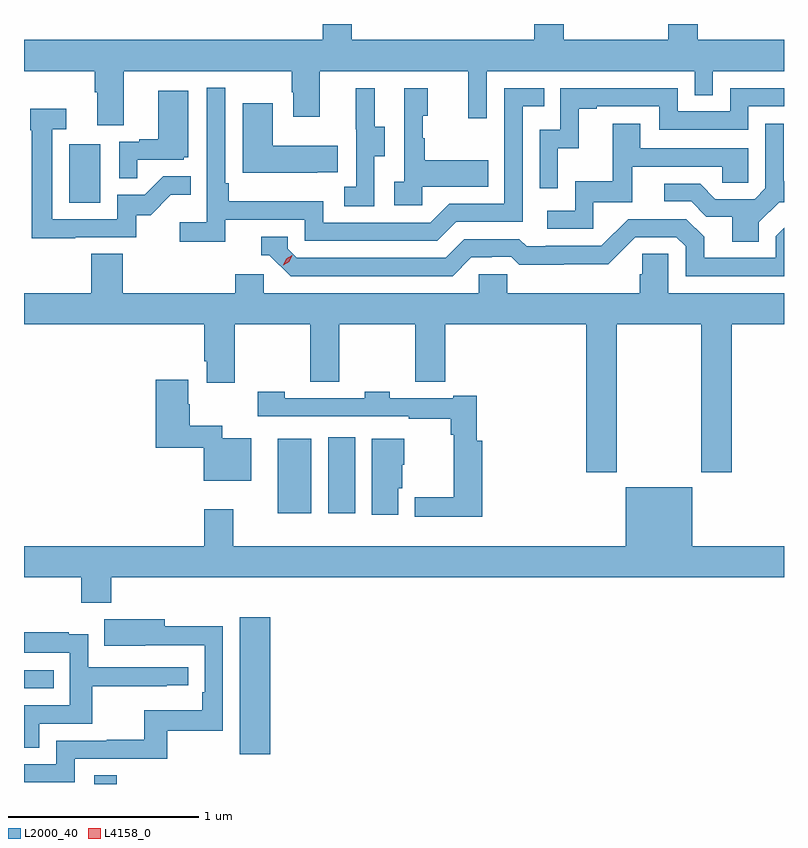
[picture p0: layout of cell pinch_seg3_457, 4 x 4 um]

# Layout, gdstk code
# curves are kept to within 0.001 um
import gdstk
lib = gdstk.Library(unit=1e-6, precision=1e-09)
def R(c, l, rs):  # rectangles x0, y0, x1, y1
    for r in rs: c.add(gdstk.rectangle(r[:2], r[2:], *l))
def P(c, l, *ps):  # polygons
    for p in ps: c.add(gdstk.Polygon(p, *l))
L2000_40 = (2000, 40)
L4158_0 = (4158, 0)

pinch_seg3_457 = lib.new_cell('pinch_seg3_457')
R(pinch_seg3_457, L2000_40, [(891.615,669.192,891.731,669.239), (892.379,669.348,892.54,670.069), (891.244,669.696,891.401,669.792), (892.58,670.616,892.756,671.008), (892.844,670.616,892.987,671.017), (891.482,672.252,891.646,672.559)])
P(pinch_seg3_457, L2000_40, [(891.769,672.944),(892.654,672.944),(892.654,672.833),(892.661,672.833),(892.661,672.705),(892.801,672.705),(892.801,672.944),(893.582,672.944),(893.582,672.696),(893.679,672.696),(893.679,672.944),(894.774,672.944),(894.774,672.817),(894.87,672.817),(894.87,672.944),(895.244,672.944),(895.244,673.108),(894.791,673.108),(894.791,673.192),(894.635,673.192),(894.635,673.108),(894.086,673.108),(894.086,673.192),(893.929,673.192),(893.929,673.108),(892.969,673.108),(892.969,673.192),(892.817,673.192),(892.817,673.108),(891.244,673.108),(891.244,672.944),(891.617,672.944),(891.617,672.832),(891.629,672.832),(891.629,672.658),(891.769,672.658)],
  [(892.304,672.162),(892.722,672.162),(892.722,672.051),(893.419,672.051),(893.518,672.15),(893.868,672.15),(893.868,672.759),(893.981,672.759),(893.981,672.855),(893.772,672.855),(893.772,672.246),(893.481,672.246),(893.382,672.147),(892.818,672.147),(892.818,672.259),(892.322,672.259),(892.322,672.355),(892.302,672.355),(892.302,672.856),(892.206,672.856),(892.206,672.148),(892.065,672.148),(892.065,672.046),(892.304,672.046)],
  [(894.054,672.539),(894.164,672.539),(894.164,672.747),(894.259,672.747),(894.259,672.759),(894.588,672.759),(894.588,672.636),(895.056,672.636),(895.056,672.759),(895.244,672.759),(895.244,672.855),(894.96,672.855),(894.96,672.732),(894.684,672.732),(894.684,672.855),(894.066,672.855),(894.066,672.636),(893.958,672.636),(893.958,672.327),(894.054,672.327)],
  [(893.088,672.496),(893.143,672.496),(893.143,672.651),(893.089,672.651),(893.089,672.853),(892.991,672.853),(892.991,672.639),(892.992,672.639),(892.992,672.335),(892.929,672.335),(892.929,672.232),(893.088,672.232)],
  [(893.34,672.335),(893.687,672.335),(893.687,672.475),(893.353,672.475),(893.353,672.59),(893.343,672.59),(893.343,672.708),(893.368,672.708),(893.368,672.853),(893.244,672.853),(893.244,672.362),(893.193,672.362),(893.193,672.237),(893.34,672.237)],
  [(891.839,672.477),(892.086,672.477),(892.086,672.492),(892.108,672.492),(892.108,672.841),(891.95,672.841),(891.95,672.586),(891.851,672.586),(891.851,672.573),(891.744,672.573),(891.744,672.379),(891.839,672.379)],
  [(892.787,672.413),(892.895,672.413),(892.895,672.55),(892.552,672.55),(892.552,672.775),(892.394,672.775),(892.394,672.41),(892.787,672.41)],
  [(891.515,672.069),(891.834,672.069),(891.834,672.186),(891.91,672.186),(892.017,672.293),(892.121,672.293),(892.121,672.392),(891.977,672.392),(891.879,672.294),(891.735,672.294),(891.735,672.165),(891.393,672.165),(891.393,672.639),(891.466,672.639),(891.466,672.745),(891.277,672.745),(891.277,672.632),(891.285,672.632),(891.285,672.064),(891.515,672.064)],
  [(895.111,672.148),(895.218,672.255),(895.244,672.255),(895.243,672.667),(895.146,672.667),(895.146,672.327),(895.089,672.27),(894.883,672.27),(894.802,672.351),(894.615,672.351),(894.615,672.258),(894.756,672.258),(894.836,672.178),(894.971,672.178),(894.971,672.046),(895.111,672.046)],
  [(894.24,672.255),(894.445,672.255),(894.445,672.441),(894.919,672.441),(894.919,672.357),(895.056,672.357),(895.056,672.537),(894.487,672.537),(894.487,672.667),(894.343,672.667),(894.343,672.364),(894.144,672.364),(894.144,672.21),(893.997,672.21),(893.997,672.114),(894.24,672.114)],
  [(893.599,671.964),(893.706,671.964),(893.706,671.967),(893.809,671.967),(893.851,671.925),(894.084,671.925),(894.084,671.927),(894.32,671.927),(894.462,672.069),(894.678,672.069),(894.726,672.021),(894.726,671.865),(895.244,671.865),(895.244,672.119),(895.2,672.075),(895.2,671.961),(894.823,671.961),(894.823,672.071),(894.729,672.165),(894.423,672.165),(894.282,672.024),(893.989,672.024),(893.989,672.021),(893.89,672.021),(893.851,672.06),(893.562,672.06),(893.463,671.961),(892.68,671.961),(892.632,672.009),(892.632,672.072),(892.493,672.072),(892.493,671.976),(892.536,671.976),(892.647,671.865),(893.5,671.865)],
  [(892.75,671.308),(892.904,671.308),(892.904,671.612),(893.302,671.612),(893.302,671.308),(893.462,671.308),(893.462,671.612),(894.203,671.612),(894.203,670.833),(894.363,670.833),(894.363,671.612),(894.808,671.612),(894.808,670.833),(894.968,670.833),(894.968,671.612),(895.244,671.612),(895.244,671.776),(894.636,671.776),(894.636,671.984),(894.499,671.984),(894.499,671.874),(894.485,671.874),(894.485,671.776),(893.787,671.776),(893.787,671.874),(893.637,671.874),(893.637,671.776),(892.506,671.776),(892.506,671.874),(892.355,671.874),(892.355,671.776),(891.764,671.776),(891.764,671.984),(891.599,671.984),(891.599,671.776),(891.244,671.776),(891.244,671.612),(892.193,671.612),(892.193,671.416),(892.205,671.416),(892.205,671.304),(892.353,671.304),(892.353,671.612),(892.75,671.612)],
  [(892.441,671.011),(892.287,671.011),(892.287,671.077),(892.116,671.077),(892.116,671.19),(892.108,671.19),(892.108,671.32),(891.938,671.32),(891.938,670.961),(892.191,670.961),(892.191,670.787),(892.441,670.787)],
  [(893.657,670.999),(893.627,670.999),(893.627,671.236),(893.504,671.236),(893.504,671.223),(893.169,671.223),(893.169,671.256),(893.037,671.256),(893.037,671.223),(892.617,671.223),(892.617,671.256),(892.473,671.256),(892.473,671.127),(893.269,671.127),(893.269,671.115),(893.491,671.115),(893.491,671.03),(893.506,671.03),(893.506,670.7),(893.301,670.7),(893.301,670.598),(893.657,670.598)],
  [(893.215,670.749),(893.236,670.749),(893.236,670.872),(893.245,670.872),(893.245,671.008),(893.075,671.008),(893.075,670.608),(893.215,670.608)],
  [(891.704,670.28),(895.244,670.28),(895.244,670.444),(894.76,670.444),(894.76,670.753),(894.41,670.753),(894.41,670.444),(892.345,670.444),(892.345,670.639),(892.193,670.639),(892.193,670.444),(891.244,670.444),(891.244,670.28),(891.544,670.28),(891.544,670.145),(891.704,670.145)],
  [(891.51,669.324),(891.997,669.324),(891.997,669.471),(892.29,669.471),(892.29,670.022),(891.985,670.022),(891.985,670.06),(891.667,670.06),(891.667,669.92),(891.881,669.92),(891.881,669.921),(892.194,669.921),(892.194,669.676),(892.181,669.676),(892.181,669.58),(891.876,669.58),(891.876,669.425),(891.679,669.425),(891.679,669.42),(891.414,669.42),(891.414,669.297),(891.244,669.297),(891.244,669.201),(891.51,669.201)],
  [(891.325,669.51),(891.602,669.51),(891.602,669.706),(891.995,669.706),(891.995,669.711),(892.108,669.711),(892.108,669.807),(891.582,669.807),(891.582,669.979),(891.479,669.979),(891.479,669.991),(891.244,669.991),(891.244,669.882),(891.486,669.882),(891.486,669.606),(891.244,669.606),(891.244,669.382),(891.325,669.382)])
P(pinch_seg3_457, L4158_0, [(892.609,671.923),(892.609,671.923),(892.625,671.956),(892.656,671.975),(892.657,671.975),(892.657,671.974),(892.64,671.942),(892.609,671.923)])

lib.write_gds('pinch_seg3_457.gds')
